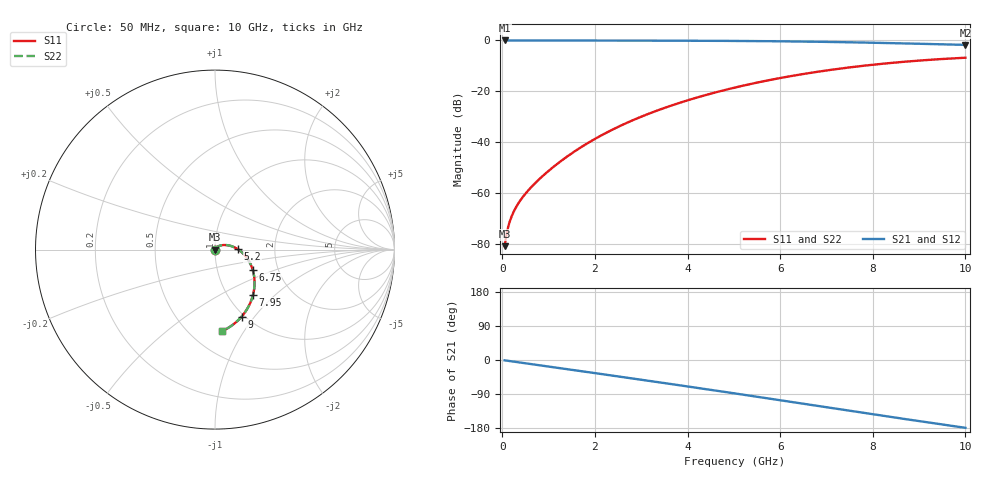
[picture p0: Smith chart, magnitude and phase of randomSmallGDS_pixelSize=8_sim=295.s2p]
! freq	dB(S11)	phase(S11)	dB(S12)	phase(S12)
!  dB(S21)	phase(S21)	dB(S22)	phase(S22)
!S-par simulation data
#  GHz  S  DB  R 50
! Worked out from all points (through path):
!   200 points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, 50 MHz to 10 GHz, reference 50 ohm
!   highest |S21| = 0.00 dB at 50 MHz (marker M1); lowest = -1.7 dB at 10 GHz (marker M2)
!   group delay of S21, straight-line fit = 50 ps
!   lowest |S11| = -81.0 dB at 50 MHz (marker M3), VSWR 1.00, Z = 50 + j0.00829 ohm
!   |S11| at or under -10 dB: start of sweep to 7.782 GHz
!   |S22| runs from -81.0 to -6.8 dB; largest |S21 - S12| = 0
!   S11 on the Smith chart (normalised r, x): 50 MHz: 1.00, +0.00; 5.2 GHz: 1.30, +0.00; 6.75 GHz: 1.48, -0.35; 7.95 GHz: 1.30, -0.73; 9 GHz: 0.97, -0.86; 10 GHz: 0.70, -0.80
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0.05  -80.98 68.1  -0.00 -0.9  -0.00 -0.9  -80.98 68.1
0.1  -75.38 78.1  -0.00 -1.7  -0.00 -1.7  -75.38 78.1
0.15  -71.87 81.3  -0.00 -2.6  -0.00 -2.6  -71.87 81.3
0.2  -69.31 82.8  -0.00 -3.5  -0.00 -3.5  -69.31 82.8
0.35  -64.04 83.8  -0.01 -6.1  -0.01 -6.1  -64.04 83.8
0.5  -60.32 83.2  -0.01 -8.7  -0.01 -8.7  -60.32 83.2
0.75  -55.43 80.8  -0.02 -13.0  -0.02 -13.0  -55.43 80.7
1.05  -50.57 76.6  -0.02 -18.2  -0.02 -18.2  -50.57 76.6
1.4  -45.70 70.8  -0.03 -24.2  -0.03 -24.2  -45.70 70.8
1.75  -41.46 64.5  -0.03 -30.3  -0.03 -30.3  -41.46 64.4
2.5  -34.03 50.4  -0.05 -43.3  -0.05 -43.3  -34.03 50.4
3.4  -27.22 33.6  -0.08 -59.1  -0.08 -59.1  -27.22 33.6
4.25  -22.22 17.9  -0.12 -74.2  -0.12 -74.2  -22.22 17.9
5.05  -18.42 3.3  -0.19 -88.7  -0.19 -88.7  -18.42 3.3
5.2  -17.79 0.5  -0.21 -91.4  -0.21 -91.4  -17.79 0.5
5.95  -14.96 -13.3  -0.32 -105.2  -0.32 -105.2  -14.96 -13.3
6.7  -12.63 -27.1  -0.49 -119.1  -0.49 -119.1  -12.63 -27.1
6.75  -12.49 -28.0  -0.50 -120.0  -0.50 -120.0  -12.49 -28.0
7.95  -9.66 -49.8  -0.87 -142.2  -0.87 -142.2  -9.66 -49.8
8.35  -8.92 -57.0  -1.03 -149.5  -1.03 -149.5  -8.92 -57.0
9  -7.92 -68.4  -1.30 -161.2  -1.30 -161.2  -7.92 -68.4
10  -6.80 -85.3  -1.74 -178.9  -1.74 -178.9  -6.80 -85.4
